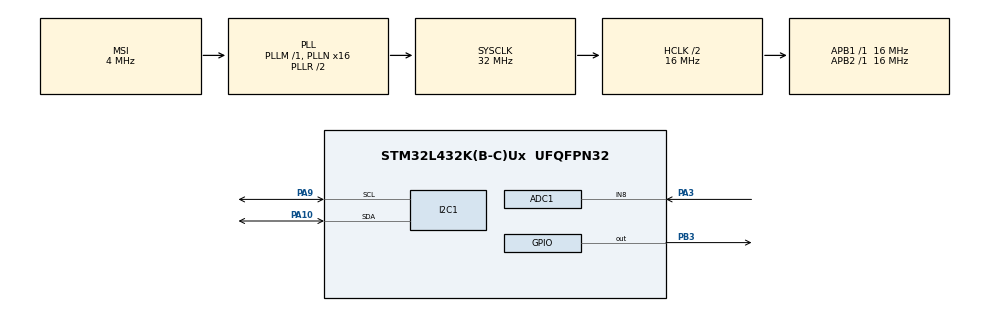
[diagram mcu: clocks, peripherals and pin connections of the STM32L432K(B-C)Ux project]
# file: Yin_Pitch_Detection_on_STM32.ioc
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ADC1.Channel-1\#ChannelRegularConversion=ADC_CHANNEL_8
ADC1.ClockPrescaler=ADC_CLOCK_SYNC_PCLK_DIV1
ADC1.ContinuousConvMode=DISABLE
ADC1.DMAContinuousRequests=DISABLE
ADC1.DataAlign=ADC_DATAALIGN_RIGHT
ADC1.ExternalTrigConv=ADC_EXTERNALTRIG_T6_TRGO
ADC1.LowPowerAutoWait=ENABLE
ADC1.NbrOfConversionFlag=1
ADC1.OffsetNumber-1\#ChannelRegularConversion=ADC_OFFSET_NONE
ADC1.Rank-1\#ChannelRegularConversion=1
ADC1.Resolution=ADC_RESOLUTION_12B
ADC1.SamplingTime-1\#ChannelRegularConversion=ADC_SAMPLETIME_2CYCLES_5
ADC1.master=1
Dma.ADC1.0.Direction=DMA_PERIPH_TO_MEMORY
Dma.ADC1.0.Instance=DMA1_Channel1
Dma.ADC1.0.MemDataAlignment=DMA_MDATAALIGN_HALFWORD
Dma.ADC1.0.MemInc=DMA_MINC_ENABLE
Dma.ADC1.0.Mode=DMA_CIRCULAR
Dma.ADC1.0.PeriphDataAlignment=DMA_PDATAALIGN_HALFWORD
Dma.ADC1.0.PeriphInc=DMA_PINC_DISABLE
Dma.ADC1.0.Priority=DMA_PRIORITY_LOW
Dma.Request0=ADC1
I2C1.Timing=0x00503D58
Mcu.Family=STM32L4
Mcu.Name=STM32L432K(B-C)Ux
Mcu.Package=UFQFPN32
NUCLEO-L432KC.LD3=true
NVIC.DMA1_Channel1_IRQn=true\:0\:0\:false\:false\:true\:false\:true\:true
NVIC.PriorityGroup=NVIC_PRIORITYGROUP_4
NVIC.TIM6_DAC_IRQn=true\:0\:0\:false\:false\:true\:true\:true\:true
PA0.GPIO_Label=MCO [High speed clock in]
PA0.Signal=RCC_CK_IN
PA10.Mode=I2C
PA10.Signal=I2C1_SDA
PA13\ (JTMS-SWDIO).GPIO_Label=SWDIO
PA13\ (JTMS-SWDIO).Signal=SYS_JTMS-SWDIO
PA14\ (JTCK-SWCLK).GPIO_Label=SWCLK
PA14\ (JTCK-SWCLK).Signal=SYS_JTCK-SWCLK
PA15\ (JTDI).GPIO_Label=VCP_RX
PA15\ (JTDI).Signal=USART2_RX
PA2.GPIO_Label=VCP_TX
PA2.Signal=USART2_TX
PA3.Signal=ADCx_IN8
PA9.Mode=I2C
PA9.Signal=I2C1_SCL
PB3\ (JTDO-TRACESWO).Signal=GPIO_Output
PC14-OSC32_IN\ (PC14).Signal=RCC_OSC32_IN
PC15-OSC32_OUT\ (PC15).Signal=RCC_OSC32_OUT
ProjectManager.HeapSize=0x200
ProjectManager.StackSize=0x400
ProjectManager.TargetToolchain=CMake
RCC.ADCFreq_Value=32000000
RCC.AHBCLKDivider=RCC_SYSCLK_DIV2
RCC.AHBFreq_Value=16000000
RCC.APB1Freq_Value=16000000
RCC.APB1TimFreq_Value=16000000
RCC.APB2Freq_Value=16000000
RCC.APB2TimFreq_Value=16000000
RCC.CortexFreq_Value=16000000
RCC.HCLKFreq_Value=16000000
RCC.HSE_VALUE=8000000
RCC.HSI16_VALUE=16000000
RCC.HSI48_VALUE=48000000
RCC.HSI_VALUE=16000000
RCC.LSE_VALUE=32768
RCC.MSI_VALUE=4000000
RCC.PLLMUL=RCC_PLLMUL_4
RCC.PLLN=16
RCC.PLLSAI1N=16
RCC.SYSCLKFreq_VALUE=32000000
RCC.SYSCLKSource=RCC_SYSCLKSOURCE_PLLCLK
RCC.USBFreq_Value=32000000
RCC.VCOOutputFreq_Value=64000000
SH.ADCx_IN8.0=ADC1_IN8,IN8-Single-Ended
TIM6.Period=1599
TIM6.Prescaler=1
TIM6.TIM_MasterOutputTrigger=TIM_TRGO_UPDATE
VP_NUCLEO-L432KC_VS_BSP_COMMON.Mode=COMMON
VP_TIM6_VS_ClockSourceINT.Mode=Enable_Timer
board=NUCLEO-L432KC

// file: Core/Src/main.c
/* USER CODE BEGIN Header */
/**
  ******************************************************************************
  * @file           : main.c
  * @brief          : Main program body
  ******************************************************************************
  * @attention
  *
  * Copyright (c) 2026 STMicroelectronics.
  * All rights reserved.
  *
  * This software is licensed under terms that can be found in the LICENSE file
  * in the root directory of this software component.
  * If no LICENSE file comes with this software, it is provided AS-IS.
  *
  ******************************************************************************
  */
/* USER CODE END Header */
#include "main.h"

/* USER CODE BEGIN Includes */
#include "definitions.h"
//#include "OLED_driver.h"
//#include "ctrldFM.h"
#include "TORIEL.h"
#include "Yinstm.h"
#include "arm_math.h"
#include "adc_test_signals.h"
//CHECKLIST
// Wednesday - Make sure I'm able to print out all the letters and the pitch conversion works DONE
// Thursday - Get the YIN stuff working, get a case from Claude or something
// Friday - Get the fucking ADC working (Somehow find the time), THE MORNING!
//
/* USER CODE END Includes */

ADC_HandleTypeDef hadc1;
DMA_HandleTypeDef hdma_adc1;

I2C_HandleTypeDef hi2c1;

TIM_HandleTypeDef htim6;

/* USER CODE BEGIN PV */

uint8_t framebuffer[SSD1306_BUF_LEN];
arm_rfft_fast_instance_f32 fft;
float   inputF[BUFFER_SIZE/2];
float   powerBuff[BUFFER_SIZE/2];
float   destBuff[BUFFER_SIZE/2];
uint32_t basicPitch = 0;
float   prob;
float   threshold = 0.1;
float   interPitch;
/* USER CODE END PV */

void SystemClock_Config(void);
static void MX_GPIO_Init(void);
static void MX_DMA_Init(void);
static void MX_ADC1_Init(void);
static void MX_I2C1_Init(void);
static void MX_TIM6_Init(void);

int main(void)
{

  /* MCU Configuration--------------------------------------------------------*/

  /* Reset of all peripherals, Initializes the Flash interface and the Systick. */
  HAL_Init();

  /* Configure the system clock */
  SystemClock_Config();

  /* Initialize all configured peripherals */
  MX_GPIO_Init();
  MX_DMA_Init();
  MX_ADC1_Init();
  MX_I2C1_Init();
  MX_TIM6_Init();
  /* USER CODE BEGIN 2 */
  oled_init(&hi2c1);
  setHorizontalMode(&hi2c1);
  setPageAndColumnAddress(0, 7, 0, 127, &hi2c1);
  for (unsigned int i = 0; i < SSD1306_BUF_LEN; i++){
    framebuffer[i] = 0x00;
  }

  clearScreen(&hi2c1);

  arm_rfft_fast_init_f32 (&fft, 1024);

  //set_pixel(64, 32, true, framebuffer);

//    printBitmap((64 - 22), (32 - 25), TORIEL_WIDTH, TORIEL_HEIGHT, TORIEL_SIZE, TORIEL_MAP,framebuffer);
//  printText(0, 20, 16, "ABCDEFG#12345", FONT, framebuffer);
  /* USER CODE END 2 */

  /* Initialize leds */
  BSP_LED_Init(LED_GREEN);

  /* Infinite loop */
  /* USER CODE BEGIN WHILE */
  while (1)
  {
//  adcToFloat(adc_sine_220hz,inputF, W_SIZE);
  Yin_Diff(adc_sine_220hz, destBuff);
  //  Yin_FFT(inputF, powerBuff, destBuff, W_SIZE, &fft);
    Yin_CMNDF(destBuff);
  //basicPitch = crude(destBuff, W_SIZE);
    basicPitch = Yin_AbsThresh(destBuff, threshold, &prob);
    interPitch = Yin_ParaInterp(destBuff, basicPitch);
//    interPitch = 440.0f;
    //printPitch(framebuffer, sizeof(framebuffer), 440);
    printPitch(framebuffer, sizeof(framebuffer), (float)ADC_TEST_FS_HZ/interPitch);
    update(framebuffer, sizeof(framebuffer), &hi2c1);
    HAL_Delay(1000);

  HAL_GPIO_TogglePin(GPIOB, GPIO_PIN_3);
  printPitch(framebuffer, sizeof(framebuffer), 34);
    update(framebuffer, sizeof(framebuffer), &hi2c1);
    HAL_Delay(1000);

    /* USER CODE END WHILE */

  }
}

void SystemClock_Config(void)
{
  RCC_OscInitTypeDef RCC_OscInitStruct = {0};
  RCC_ClkInitTypeDef RCC_ClkInitStruct = {0};

  /** Configure the main internal regulator output voltage
  */
  if (HAL_PWREx_ControlVoltageScaling(PWR_REGULATOR_VOLTAGE_SCALE1) != HAL_OK)
  {
    Error_Handler();
  }

  /** Initializes the RCC Oscillators according to the specified parameters
  * in the RCC_OscInitTypeDef structure.
  */
  RCC_OscInitStruct.OscillatorType = RCC_OSCILLATORTYPE_MSI;
  RCC_OscInitStruct.MSIState = RCC_MSI_ON;
  RCC_OscInitStruct.MSICalibrationValue = 0;
  RCC_OscInitStruct.MSIClockRange = RCC_MSIRANGE_6;
  RCC_OscInitStruct.PLL.PLLState = RCC_PLL_ON;
  RCC_OscInitStruct.PLL.PLLSource = RCC_PLLSOURCE_MSI;
  RCC_OscInitStruct.PLL.PLLM = 1;
  RCC_OscInitStruct.PLL.PLLN = 16;
  RCC_OscInitStruct.PLL.PLLP = RCC_PLLP_DIV7;
  RCC_OscInitStruct.PLL.PLLQ = RCC_PLLQ_DIV2;
  RCC_OscInitStruct.PLL.PLLR = RCC_PLLR_DIV2;
  if (HAL_RCC_OscConfig(&RCC_OscInitStruct) != HAL_OK)
  {
    Error_Handler();
  }

  /** Initializes the CPU, AHB and APB buses clocks
  */
  RCC_ClkInitStruct.ClockType = RCC_CLOCKTYPE_HCLK|RCC_CLOCKTYPE_SYSCLK
                              |RCC_CLOCKTYPE_PCLK1|RCC_CLOCKTYPE_PCLK2;
  RCC_ClkInitStruct.SYSCLKSource = RCC_SYSCLKSOURCE_PLLCLK;
  RCC_ClkInitStruct.AHBCLKDivider = RCC_SYSCLK_DIV2;
  RCC_ClkInitStruct.APB1CLKDivider = RCC_HCLK_DIV1;
  RCC_ClkInitStruct.APB2CLKDivider = RCC_HCLK_DIV1;

  if (HAL_RCC_ClockConfig(&RCC_ClkInitStruct, FLASH_LATENCY_0) != HAL_OK)
  {
    Error_Handler();
  }
}

static void MX_ADC1_Init(void)
{

  ADC_ChannelConfTypeDef sConfig = {0};

  /** Common config
  */
  hadc1.Instance = ADC1;
  hadc1.Init.ClockPrescaler = ADC_CLOCK_SYNC_PCLK_DIV1;
  hadc1.Init.Resolution = ADC_RESOLUTION_12B;
  hadc1.Init.DataAlign = ADC_DATAALIGN_RIGHT;
  hadc1.Init.ScanConvMode = ADC_SCAN_DISABLE;
  hadc1.Init.EOCSelection = ADC_EOC_SINGLE_CONV;
  hadc1.Init.LowPowerAutoWait = ENABLE;
  hadc1.Init.ContinuousConvMode = DISABLE;
  hadc1.Init.NbrOfConversion = 1;
  hadc1.Init.DiscontinuousConvMode = DISABLE;
  hadc1.Init.ExternalTrigConv = ADC_EXTERNALTRIG_T6_TRGO;
  hadc1.Init.ExternalTrigConvEdge = ADC_EXTERNALTRIGCONVEDGE_RISING;
  hadc1.Init.DMAContinuousRequests = DISABLE;
  hadc1.Init.Overrun = ADC_OVR_DATA_PRESERVED;
  hadc1.Init.OversamplingMode = DISABLE;
  if (HAL_ADC_Init(&hadc1) != HAL_OK)
  {
    Error_Handler();
  }

  /** Configure Regular Channel
  */
  sConfig.Channel = ADC_CHANNEL_8;
  sConfig.Rank = ADC_REGULAR_RANK_1;
  sConfig.SamplingTime = ADC_SAMPLETIME_2CYCLES_5;
  sConfig.SingleDiff = ADC_SINGLE_ENDED;
  sConfig.OffsetNumber = ADC_OFFSET_NONE;
  sConfig.Offset = 0;
  if (HAL_ADC_ConfigChannel(&hadc1, &sConfig) != HAL_OK)
  {
    Error_Handler();
  }

}

static void MX_I2C1_Init(void)
{

  hi2c1.Instance = I2C1;
  hi2c1.Init.Timing = 0x00503D58;
  hi2c1.Init.OwnAddress1 = 0;
  hi2c1.Init.AddressingMode = I2C_ADDRESSINGMODE_7BIT;
  hi2c1.Init.DualAddressMode = I2C_DUALADDRESS_DISABLE;
  hi2c1.Init.OwnAddress2 = 0;
  hi2c1.Init.OwnAddress2Masks = I2C_OA2_NOMASK;
  hi2c1.Init.GeneralCallMode = I2C_GENERALCALL_DISABLE;
  hi2c1.Init.NoStretchMode = I2C_NOSTRETCH_DISABLE;
  if (HAL_I2C_Init(&hi2c1) != HAL_OK)
  {
    Error_Handler();
  }

  /** Configure Analogue filter
  */
  if (HAL_I2CEx_ConfigAnalogFilter(&hi2c1, I2C_ANALOGFILTER_ENABLE) != HAL_OK)
  {
    Error_Handler();
  }

  /** Configure Digital filter
  */
  if (HAL_I2CEx_ConfigDigitalFilter(&hi2c1, 0) != HAL_OK)
  {
    Error_Handler();
  }

}

static void MX_TIM6_Init(void)
{

  TIM_MasterConfigTypeDef sMasterConfig = {0};

  htim6.Instance = TIM6;
  htim6.Init.Prescaler = 1;
  htim6.Init.CounterMode = TIM_COUNTERMODE_UP;
  htim6.Init.Period = 1599;
  htim6.Init.AutoReloadPreload = TIM_AUTORELOAD_PRELOAD_DISABLE;
  if (HAL_TIM_Base_Init(&htim6) != HAL_OK)
  {
    Error_Handler();
  }
  sMasterConfig.MasterOutputTrigger = TIM_TRGO_UPDATE;
  sMasterConfig.MasterSlaveMode = TIM_MASTERSLAVEMODE_DISABLE;
  if (HAL_TIMEx_MasterConfigSynchronization(&htim6, &sMasterConfig) != HAL_OK)
  {
    Error_Handler();
  }

}

static void MX_DMA_Init(void)
{

  /* DMA controller clock enable */
  __HAL_RCC_DMA1_CLK_ENABLE();

  /* DMA interrupt init */
  /* DMA1_Channel1_IRQn interrupt configuration */
  HAL_NVIC_SetPriority(DMA1_Channel1_IRQn, 0, 0);
  HAL_NVIC_EnableIRQ(DMA1_Channel1_IRQn);

}

static void MX_GPIO_Init(void)
{
  GPIO_InitTypeDef GPIO_InitStruct = {0};

  /* GPIO Ports Clock Enable */
  __HAL_RCC_GPIOC_CLK_ENABLE();
  __HAL_RCC_GPIOA_CLK_ENABLE();

  /*Configure GPIO pin : VCP_TX_Pin */
  GPIO_InitStruct.Pin = VCP_TX_Pin;
  GPIO_InitStruct.Mode = GPIO_MODE_AF_PP;
  GPIO_InitStruct.Pull = GPIO_NOPULL;
  GPIO_InitStruct.Speed = GPIO_SPEED_FREQ_VERY_HIGH;
  GPIO_InitStruct.Alternate = GPIO_AF7_USART2;
  HAL_GPIO_Init(VCP_TX_GPIO_Port, &GPIO_InitStruct);

  /*Configure GPIO pin : VCP_RX_Pin */
  GPIO_InitStruct.Pin = VCP_RX_Pin;
  GPIO_InitStruct.Mode = GPIO_MODE_AF_PP;
  GPIO_InitStruct.Pull = GPIO_NOPULL;
  GPIO_InitStruct.Speed = GPIO_SPEED_FREQ_VERY_HIGH;
  GPIO_InitStruct.Alternate = GPIO_AF3_USART2;
  HAL_GPIO_Init(VCP_RX_GPIO_Port, &GPIO_InitStruct);

}

void Error_Handler(void)
{
  __disable_irq();
  while (1)
  {
  }
}
